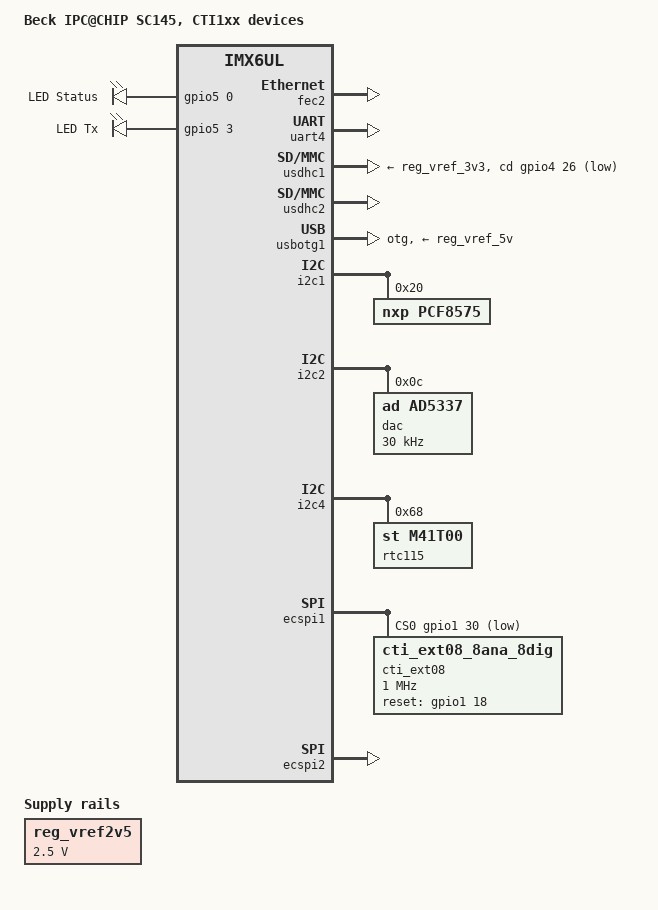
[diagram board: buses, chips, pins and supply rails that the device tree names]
/*
 * Copyright (C) 2015 Freescale Semiconductor, Inc.
 * Copyright (C) 2016 Beck IPC GmbH
 * Copyright (C) 2017, 2018 Kernel Concepts GmbH
 *
 * This program is free software; you can redistribute it and/or modify
 * it under the terms of the GNU General Public License version 2 as
 * published by the Free Software Foundation.
 *
 * Device tree for SC145-H02 on Beck CTI1xx baseboards
 *
 */

/dts-v1/;
#include "imx6ul.dtsi"
#include "imx6ul-sc145-h02.dtsi"
#include <dt-bindings/gpio/gpio.h>

/ {
	model = "Beck IPC@CHIP SC145, CTI1xx devices";
	compatible = "beck,imx6ul-sc145", "fsl,imx6ul";

	chosen {
		stdout-path = &uart4;
	};


	/* LEDs located on main board */
	mainboard-leds {
		status = "okay";
		pinctrl-names = "default";
		pinctrl-0 = <&pinctrl_leds>;
		compatible = "gpio-leds";
		led_y {
	                label = "LED Status";
	                gpios = <&gpio5 0 GPIO_ACTIVE_HIGH>;
		        default-state = "off";
	                linux,default-trigger = "heartbeat";
	        };
		led_r {
	                label = "LED Tx";
	                gpios = <&gpio5 3 GPIO_ACTIVE_HIGH>;
		        default-state = "off";
		};
	};

	reg_vref2v5: regulator-2v5 {
		compatible = "regulator-fixed";
		regulator-name = "vref";
		regulator-min-microvolt = <2500000>;
		regulator-max-microvolt = <2500000>;
		regulator-always-on;
	};
};

&flash0 {
	partitions {
		compatible = "fixed-partitions";
		#address-cells = <1>;
		#size-cells = <1>;

		partition@0 {		/* 512k */
			label = "bootloader";
			reg = <0x0000000 0x0080000>;
			read-only;
		};

		partition@80000 {	/* 256k */
			label = "environment";
			reg = <0x0080000 0x0040000>;
		};

		partition@C0000 {	/* ubi container */
			label = "filesystem";
			reg = <0x00C0000 0xFF40000>;
		};
	};
};

&fec2 {
    status = "okay";
};

&can1 {
    status = "disabled";
};

&can2 {
    status = "disabled";
};

&uart1 {
    status = "disabled";
};

&uart5 {
    status = "disabled";
    /delete-node/ fsl,uart-has-rtscts;
};

&uart4 {
    status = "okay";
};

&usdhc1 {
    status = "okay";
    cd-gpios = <&gpio4 26 GPIO_ACTIVE_LOW>; /* 117 high, 115 low */
    disable-wp;
    vmmc-supply = <&reg_vref_3v3>;
    /delete-node/ wp-gpios;
};


&usdhc2 {
    status = "okay";
};

&usbotg1 {
	status = "disabled";
};

&usbotg2 {
	status = "disabled";
};

&lcdif {
	status = "disabled";
};

&i2c1 {
    status = "okay";
    /* GPIO expander display tastatur, no IRQ line */
    pcf8575: gpio@20 {
             compatible = "nxp,pcf8575";
             reg = <0x20>;
             gpio-controller;
             #gpio-cells = <2>;
   };
};


&i2c2 {
    status = "okay";

    /* AD5337 analog out */
    dac: ad5337@0C {
	compatible = "ad,ad5337";
	reg = <0x0C>;
        vref = <&reg_vref2v5>;
	clock-frequency = <30000>;
    };
};

&i2c4 {
    status = "ok";

    /* External RTC CTI 115 */
    rtc115: m41t00@68 {
	compatible = "st,m41t00";
	reg = <0x68>;
    };
};

&ecspi1 {
    fsl,spi-num-chipselects = <1>;
    cs-gpios = <&gpio1 30 GPIO_ACTIVE_LOW>;
    pinctrl-names = "default";
    pinctrl-0 = <&pinctrl_ecspi1>;
    status = "okay";

    cti_ext08: cti_ext08@0 {
        compatible = "cti_ext08_8ana_8dig";
        spi-max-frequency = <1000000>;
        spi-cpha=<0>;
        spi-cpol=<0>;
        reg = <0>;
        gpio-reset = <&gpio1 18 GPIO_ACTIVE_HIGH>;
    };
};

&pinctrl_ecspi1 {
	fsl,pins = <
		MX6UL_PAD_CSI_DATA07__ECSPI1_MISO   0x1b020
		MX6UL_PAD_CSI_DATA06__ECSPI1_MOSI   0x1b020
		MX6UL_PAD_CSI_DATA04__ECSPI1_SCLK   0x1b020
		MX6UL_PAD_UART1_CTS_B__GPIO1_IO18   0x0b0b0
		MX6UL_PAD_UART5_TX_DATA__GPIO1_IO30 0x0b0b0
	>;
};


&ecspi2 {
    fsl,spi-num-chipselects = <1>;
    cs-gpios = <&gpio4 22 GPIO_ACTIVE_LOW>;
    pinctrl-names = "default";
    pinctrl-0 = <&pinctrl_ecspi2>;
    status = "okay";

};

/* SPI2 */
&pinctrl_ecspi2 {
    fsl,pins = <
	MX6UL_PAD_CSI_DATA01__GPIO4_IO22     0x0b0b0
        MX6UL_PAD_CSI_DATA03__ECSPI2_MISO    0x1b020
        MX6UL_PAD_CSI_DATA02__ECSPI2_MOSI    0x1b020
        MX6UL_PAD_CSI_DATA00__ECSPI2_SCLK    0x1b020
    >;
};

/* USB OTG port */
&usbotg1 {
    vbus-supply = <&reg_vref_5v>;
    dr_mode = "otg";
    srp-disable;
    hnp-disable;
    adp-disable;
    disable-over-current;
    status = "okay";
};

&iomuxc {
	hoggrp {
		fsl,pins = <
			MX6UL_PAD_LCD_DATA17__GPIO3_IO22	0x0b0b0 /* switch SW2: USR */
			MX6UL_PAD_LCD_DATA19__GPIO3_IO24	0x0b0b0 /* switch SW1: INIT */
			MX6UL_PAD_LCD_DATA20__GPIO3_IO25	0x0b0b0 /* relay RL1: Q1 */
			MX6UL_PAD_LCD_DATA21__GPIO3_IO26	0x0b0b0 /* display SPI CS */
			MX6UL_PAD_LCD_DATA22__GPIO3_IO27	0x0b0b0 /* relay RL2: Q2 */
			MX6UL_PAD_LCD_DATA23__GPIO3_IO28	0x0b0b0 /* relay RL3: Q3 */
			MX6UL_PAD_LCD_DATA15__GPIO3_IO20	0x0b0b0 /* relay RL4: Q4 */
			MX6UL_PAD_UART2_CTS_B__GPIO1_IO22	0x0b0b0 /* digital input DI4: IN4 */
			MX6UL_PAD_LCD_DATA14__GPIO3_IO19	0x0b0b0 /* digital input DI1: IN1 */
			MX6UL_PAD_LCD_DATA04__GPIO3_IO09	0x0b0b0 /* digital input DI2: IN2 */
			MX6UL_PAD_UART2_RTS_B__GPIO1_IO23	0x0b0b0 /* digital input DI3: IN3 */
			MX6UL_PAD_SNVS_TAMPER1__GPIO5_IO01	0x0b0b0 /* Display register select */
		>;
	};

	pinctrl_leds: mbleds {
		fsl,pins = <
			MX6UL_PAD_SNVS_TAMPER0__GPIO5_IO00	0x0b0b0 /* Status LED */
			MX6UL_PAD_SNVS_TAMPER3__GPIO5_IO03	0x0b0b0 /* TX LED */
		>;
	};

	pinctrl_silab: silabreset {
		fsl,pins = <
			MX6UL_PAD_SNVS_TAMPER4__GPIO5_IO04	0x0b0b0 /* RST_AI */
		>;
	};

    /* SDIO1 / SDHC card */
    pinctrl_usdhc1_default {
        fsl,pins = <
            MX6UL_PAD_SD1_CMD__USDHC1_CMD           0x17059
            MX6UL_PAD_SD1_CLK__USDHC1_CLK           0x10071
            MX6UL_PAD_SD1_DATA0__USDHC1_DATA0       0x17059
            MX6UL_PAD_SD1_DATA1__USDHC1_DATA1       0x17059
            MX6UL_PAD_SD1_DATA2__USDHC1_DATA2       0x17059
            MX6UL_PAD_SD1_DATA3__USDHC1_DATA3       0x17059
            MX6UL_PAD_CSI_DATA05__GPIO4_IO26        0x17059 /* SD1 CD */
        >;
    };

    pinctrl_usdhc1_100mhz {
        fsl,pins = <
            MX6UL_PAD_SD1_CMD__USDHC1_CMD           0x170b9
            MX6UL_PAD_SD1_CLK__USDHC1_CLK           0x100b9
            MX6UL_PAD_SD1_DATA0__USDHC1_DATA0       0x170b9
            MX6UL_PAD_SD1_DATA1__USDHC1_DATA1       0x170b9
            MX6UL_PAD_SD1_DATA2__USDHC1_DATA2       0x170b9
            MX6UL_PAD_SD1_DATA3__USDHC1_DATA3       0x170b9
            MX6UL_PAD_CSI_DATA05__GPIO4_IO26        0x17059 /* SD1 CD */
        >;
    };

    pinctrl_usdhc1_200mhz {
        fsl,pins = <
            MX6UL_PAD_SD1_CMD__USDHC1_CMD           0x170f9
            MX6UL_PAD_SD1_CLK__USDHC1_CLK           0x100f9
            MX6UL_PAD_SD1_DATA0__USDHC1_DATA0       0x170f9
            MX6UL_PAD_SD1_DATA1__USDHC1_DATA1       0x170f9
            MX6UL_PAD_SD1_DATA2__USDHC1_DATA2       0x170f9
            MX6UL_PAD_SD1_DATA3__USDHC1_DATA3       0x170f9
            MX6UL_PAD_CSI_DATA05__GPIO4_IO26        0x17059 /* SD1 CD */
        >;
    };
};
